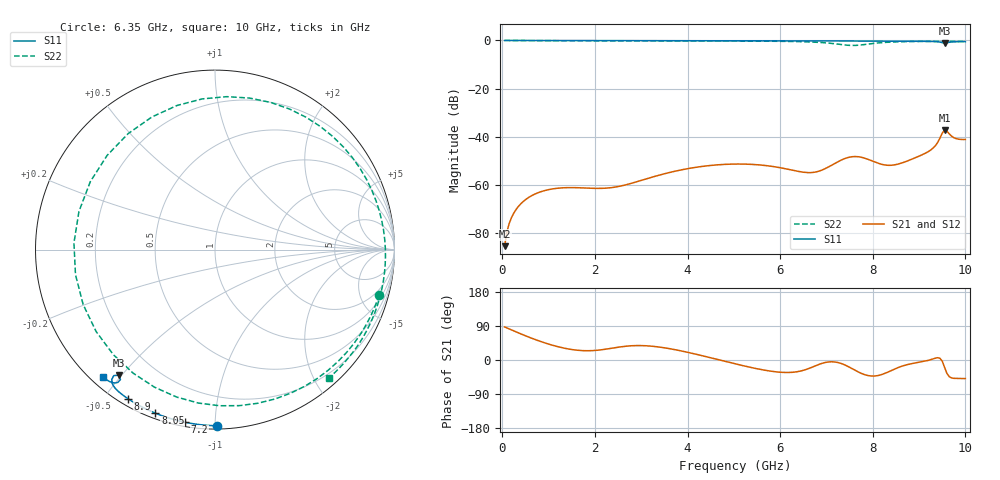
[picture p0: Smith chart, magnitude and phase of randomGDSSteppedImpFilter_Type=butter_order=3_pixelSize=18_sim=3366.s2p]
! freq	dB(S11)	phase(S11)	dB(S12)	phase(S12)
!  dB(S21)	phase(S21)	dB(S22)	phase(S22)
!S-par simulation data
#  GHz  S  DB  R 50
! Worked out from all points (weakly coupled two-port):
!   200 points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, 50 MHz to 10 GHz, reference 50 ohm
!   highest |S21| = -37.33 dB at 9.55 GHz (marker M1); lowest = -85.6 dB at 50 MHz (marker M2)
!   lowest |S11| = -1.1 dB at 9.55 GHz (marker M3), VSWR 15.87, Z = 3.91 - j24.6 ohm
!   |S11| at or under -10 dB: nowhere
!   |S22| runs from -2.1 to 0.0 dB; largest |S21 - S12| = 0
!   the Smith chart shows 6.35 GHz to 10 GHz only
!   S11 on the Smith chart (normalised r, x): 6.35 GHz: 0.02, -1.01; 7.2 GHz: 0.02, -0.84; 8.05 GHz: 0.02, -0.70; 8.9 GHz: 0.03, -0.57; 10 GHz: 0.03, -0.45
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0.05  -0.00 -0.8  -85.63 87.2  -85.63 87.2  -0.00 -4.7
0.35  -0.01 -5.3  -69.04 71.5  -69.04 71.5  -0.05 -32.0
0.85  -0.02 -12.9  -62.85 47.9  -62.85 47.9  -0.09 -74.6
1.25  -0.02 -18.9  -61.41 33.6  -61.41 33.6  -0.11 -104.9
1.75  -0.03 -26.4  -61.38 24.7  -61.38 24.7  -0.13 -138.2
2.5  -0.05 -37.4  -60.82 33.7  -60.82 33.7  -0.15 179.1
3.4  -0.07 -50.2  -56.00 34.0  -56.00 34.0  -0.17 133.9
4.25  -0.09 -62.0  -52.60 13.3  -52.60 13.3  -0.20 93.6
5.05  -0.11 -72.7  -51.44 -10.7  -51.44 -10.7  -0.24 55.5
5.75  -0.14 -81.8  -52.22 -28.6  -52.22 -28.6  -0.31 20.1
6.35  -0.16 -89.3  -54.34 -31.3  -54.34 -31.3  -0.46 -15.4
6.7  -0.18 -93.7  -54.95 -18.5  -54.95 -18.5  -0.67 -42.4
7.2  -0.21 -99.8  -50.98 -5.6  -50.98 -5.6  -1.42 -104.6
7.45  -0.22 -102.8  -48.81 -16.1  -48.81 -16.1  -1.98 -157.4
7.6  -0.23 -104.6  -48.32 -25.9  -48.32 -25.9  -2.08 164.3
7.8  -0.25 -107.0  -48.86 -37.6  -48.86 -37.6  -1.74 115.4
8.05  -0.27 -110.0  -50.63 -42.1  -50.63 -42.1  -1.14 69.4
8.35  -0.29 -113.6  -51.98 -30.6  -51.98 -30.6  -0.71 33.6
8.9  -0.34 -120.2  -48.97 -8.2  -48.97 -8.2  -0.43 -5.1
9.3  -0.43 -125.8  -44.84 2.8  -44.84 2.8  -0.38 -23.7
9.55  -1.10 -127.5  -37.33 -19.2  -37.33 -19.2  -0.37 -33.4
10  -0.49 -131.3  -41.21 -49.1  -41.21 -49.1  -0.39 -48.4
